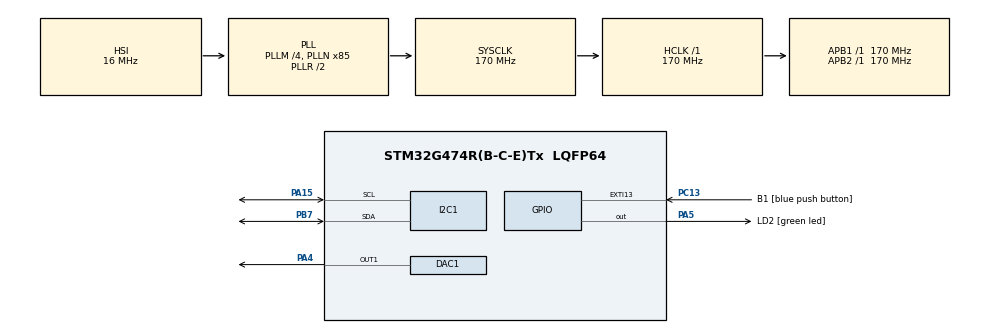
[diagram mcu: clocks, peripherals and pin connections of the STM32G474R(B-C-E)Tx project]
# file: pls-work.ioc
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DAC1.DAC_Trigger2_OUT1-DAC_OUT1=DAC_TRIGGER_T6_TRGO
DAC1.DAC_Trigger_OUT1-DAC_OUT1=DAC_TRIGGER_T2_TRGO
DAC1.PolaritySawtooth-DAC_OUT1=DAC_SAWTOOTH_POLARITY_INCREMENT
DAC1.WaveGeneration_OUT1-DAC_OUT1=SawtoothWaveGenerate
Dma.DAC1_CH1.0.Direction=DMA_MEMORY_TO_PERIPH
Dma.DAC1_CH1.0.EventEnable=DISABLE
Dma.DAC1_CH1.0.Instance=DMA1_Channel1
Dma.DAC1_CH1.0.MemDataAlignment=DMA_MDATAALIGN_HALFWORD
Dma.DAC1_CH1.0.MemInc=DMA_MINC_ENABLE
Dma.DAC1_CH1.0.Mode=DMA_CIRCULAR
Dma.DAC1_CH1.0.PeriphDataAlignment=DMA_PDATAALIGN_WORD
Dma.DAC1_CH1.0.PeriphInc=DMA_PINC_DISABLE
Dma.DAC1_CH1.0.Polarity=HAL_DMAMUX_REQ_GEN_RISING
Dma.DAC1_CH1.0.Priority=DMA_PRIORITY_LOW
Dma.DAC1_CH1.0.RequestNumber=1
Dma.DAC1_CH1.0.SignalID=NONE
Dma.DAC1_CH1.0.SyncEnable=DISABLE
Dma.DAC1_CH1.0.SyncPolarity=HAL_DMAMUX_SYNC_NO_EVENT
Dma.DAC1_CH1.0.SyncRequestNumber=1
Dma.DAC1_CH1.0.SyncSignalID=NONE
Dma.Request0=DAC1_CH1
I2C1.Timing=0x30A0A7FB
Mcu.Family=STM32G4
Mcu.Name=STM32G474R(B-C-E)Tx
Mcu.Package=LQFP64
NVIC.DMA1_Channel1_IRQn=true\:0\:0\:false\:false\:true\:false\:true
NVIC.EXTI15_10_IRQn=true\:0\:0\:false\:false\:true\:true\:true
NVIC.PriorityGroup=NVIC_PRIORITYGROUP_4
PA13.GPIO_Label=T_SWDIO
PA13.Signal=SYS_JTMS-SWDIO
PA14.GPIO_Label=T_SWCLK
PA14.Signal=SYS_JTCK-SWCLK
PA15.Mode=I2C
PA15.Signal=I2C1_SCL
PA2.GPIO_Label=LPUART1_TX [STLINKV3E_VCP_RX]
PA2.Signal=LPUART1_TX
PA3.GPIO_Label=LPUART1_RX [STLINKV3E_VCP_TX]
PA3.Signal=LPUART1_RX
PA4.Signal=COMP_DAC11_group
PA5.GPIO_Label=LD2 [green led]
PA5.Signal=GPIO_Output
PB3.GPIO_Label=T_SWO
PB3.Signal=SYS_JTDO-SWO
PB7.Mode=I2C
PB7.Signal=I2C1_SDA
PC13.GPIO_Label=B1 [blue push button]
PC13.Signal=GPXTI13
PC14-OSC32_IN.Signal=RCC_OSC32_IN
PC15-OSC32_OUT.Signal=RCC_OSC32_OUT
PF0-OSC_IN.Signal=RCC_OSC_IN
PF1-OSC_OUT.Signal=RCC_OSC_OUT
ProjectManager.HeapSize=0x200
ProjectManager.StackSize=0x400
ProjectManager.TargetToolchain=STM32CubeIDE
RCC.ADC12Freq_Value=170000000
RCC.ADC345Freq_Value=170000000
RCC.AHBFreq_Value=170000000
RCC.APB1Freq_Value=170000000
RCC.APB1TimFreq_Value=170000000
RCC.APB2Freq_Value=170000000
RCC.APB2TimFreq_Value=170000000
RCC.CortexFreq_Value=170000000
RCC.EXTERNAL_CLOCK_VALUE=12288000
RCC.HCLKFreq_Value=170000000
RCC.HSE_VALUE=24000000
RCC.HSI48_VALUE=48000000
RCC.HSI_VALUE=16000000
RCC.LSE_VALUE=32768
RCC.PLLM=RCC_PLLM_DIV4
RCC.PLLN=85
RCC.RTCClockSelection=RCC_RTCCLKSOURCE_LSE
RCC.SYSCLKFreq_VALUE=170000000
RCC.SYSCLKSource=RCC_SYSCLKSOURCE_PLLCLK
RCC.USBFreq_Value=170000000
RCC.VCOOutputFreq_Value=340000000
SH.COMP_DAC11_group.0=DAC1_OUT1,DAC_OUT1
TIM2.PeriodNoDither=999
TIM2.Prescaler=1049
TIM6.PeriodNoDither=2499
TIM6.Prescaler=10
VP_SYS_VS_DBSignals.Mode=DisableDeadBatterySignals
VP_TIM2_VS_ClockSourceINT.Mode=Internal
VP_TIM6_VS_ClockSourceINT.Mode=Enable_Timer
board=NUCLEO-G474RE

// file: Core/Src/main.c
/* USER CODE BEGIN Header */
/**
  ******************************************************************************
  * @file    DAC/DAC_SignalsGeneration/Src/main.c
  * @author  MCD Application Team
  * @brief   This example provides a short description of how to use the DAC
  *          peripheral to generate several signals.
  ******************************************************************************
  * @attention
  *
  * <h2><center>&copy; Copyright (c) 2019 STMicroelectronics.
  * All rights reserved.</center></h2>
  *
  * This software component is licensed by ST under BSD 3-Clause license,
  * the "License"; You may not use this file except in compliance with the
  * License. You may obtain a copy of the License at:
  *                        opensource.org/licenses/BSD-3-Clause
  *
  ******************************************************************************
  */
/* USER CODE END Header */
#include "main.h"

/* USER CODE BEGIN PTD */
typedef enum
{
  DAC_WAVE_SAWTOOTH,
  DAC_WAVE_SINE
} t_wavetype;
/* USER CODE END PTD */

/* USER CODE BEGIN PD */
#define SAWTOOTH_NB_STEPS  60
/* USER CODE END PD */

DAC_HandleTypeDef hdac1;
DMA_HandleTypeDef hdma_dac1_ch1;

I2C_HandleTypeDef hi2c1;

TIM_HandleTypeDef htim2;
TIM_HandleTypeDef htim6;

/* USER CODE BEGIN PV */
__IO uint8_t ubKeyPressed = RESET;
__IO t_wavetype ubSelectedWavesForm = DAC_WAVE_SAWTOOTH;

/* Sine wave values for a complete symbol */
uint16_t sinewave[500] = {1000,1013,1025,1038,1050,1063,1075,1088,1100,1113,1125,1138,1150,1163,1175,1187,1200,1212,1224,1236,1249,1261,1273,1285,1297,1309,1321,1333,1345,1356,1368,1380,1391,1403,1414,1426,1437,1448,1460,1471,1482,1493,1504,1514,1525,1536,1546,1557,1567,1578,1588,1598,1608,1618,1628,1637,1647,1657,1666,1675,1685,1694,1703,1712,1720,1729,1738,1746,1754,1762,1771,1778,1786,1794,1802,1809,1816,1824,1831,1838,1844,1851,1858,1864,1870,1876,1882,1888,1894,1899,1905,1910,1915,1920,1925,1930,1934,1939,1943,1947,1951,1955,1959,1962,1965,1969,1972,1975,1977,1980,1982,1985,1987,1989,1990,1992,1994,1995,1996,1997,1998,1999,1999,2000,2000,2000,2000,2000,1999,1999,1998,1997,1996,1995,1994,1992,1990,1989,1987,1985,1982,1980,1977,1975,1972,1969,1965,1962,1959,1955,1951,1947,1943,1939,1934,1930,1925,1920,1915,1910,1905,1899,1894,1888,1882,1876,1870,1864,1858,1851,1844,1838,1831,1824,1816,1809,1802,1794,1786,1778,1771,1762,1754,1746,1738,1729,1720,1712,1703,1694,1685,1675,1666,1657,1647,1637,1628,1618,1608,1598,
		1588,1578,1567,1557,1546,1536,1525,1514,1504,1493,1482,1471,1460,1448,1437,1426,1414,1403,1391,1380,1368,1356,1345,1333,1321,1309,1297,1285,1273,1261,1249,1236,1224,1212,1200,1187,1175,1163,1150,1138,1125,1113,1100,1088,1075,1063,1050,1038,1025,1013,1000,987,975,962,950,937,925,912,900,887,875,862,850,837,825,813,800,788,776,764,751,739,727,715,703,691,679,667,655,644,632,620,609,597,586,574,563,552,540,529,518,507,496,486,475,464,454,443,433,422,412,402,392,382,372,363,353,343,334,325,315,306,297,288,280,271,262,254,246,238,229,222,214,206,198,191,184,176,169,162,156,149,142,136,130,124,118,112,106,101,95,90,85,80,75,70,66,61,57,53,49,45,41,38,35,31,28,25,23,20,18,15,13,11,10,8,6,5,4,3,2,1,1,0,0,0,0,0,1,1,2,3,4,5,6,8,10,11,13,15,18,20,23,25,28,31,35,38,41,45,
		49,53,57,61,66,70,75,80,85,90,95,101,106,112,118,124,130,136,142,149,156,162,169,176,184,191,198,206,214,222,229,238,246,254,262,271,280,288,297,306,315,325,334,343,353,363,372,382,392,402,412,422,433,443,454,464,475,486,496,507,518,529,540,552,563,574,586,597,609,620,632,644,655,667,679,691,703,715,727,739,751,764,776,788,800,813,825,837,850,862,875,887,900,912,925,937,950,962,975,987,1000,};

uint16_t sinewave2[500] = {1000,1025,1050,1075,1100,1125,1150,1175,1200,1224,1249,1273,1297,1321,1345,1368,1391,1414,1437,1460,1482,1504,1525,1546,1567,1588,1608,1628,1647,1666,1685,1703,1720,1738,1754,1771,1786,1802,1816,1831,1844,1858,1870,1882,1894,1905,1915,1925,1934,1943,1951,1959,1965,1972,1977,1982,1987,1990,1994,1996,1998,1999,2000,2000,1999,1998,1996,1994,1990,1987,1982,1977,1972,1965,1959,1951,1943,1934,1925,1915,1905,1894,1882,1870,1858,1844,1831,1816,1802,1786,1771,1754,1738,1720,1703,1685,1666,1647,1628,1608,1588,1567,1546,1525,1504,1482,1460,1437,1414,1391,1368,1345,1321,1297,1273,1249,1224,1200,1175,1150,1125,1100,1075,1050,1025,1000,975,950,925,900,875,850,825,800,776,751,727,703,679,655,632,609,586,563,540,518,496,475,454,433,412,392,372,353,334,315,297,280,262,246,229,214,198,184,169,156,142,130,118,106,95,85,75,66,57,49,41,35,28,23,18,13,10,6,4,2,1,0,0,1,2,4,6,10,13,18,23,28,35,41,
		49,57,66,75,85,95,106,118,130,142,156,169,184,198,214,229,246,262,280,297,315,334,353,372,392,412,433,454,475,496,518,540,563,586,609,632,655,679,703,727,751,776,800,825,850,875,900,925,950,975,1000,1000,1025,1050,1075,1100,1125,1150,1175,1200,1224,1249,1273,1297,1321,1345,1368,1391,1414,1437,1460,1482,1504,1525,1546,1567,1588,1608,1628,1647,1666,1685,1703,1720,1738,1754,1771,1786,1802,1816,1831,1844,1858,1870,1882,1894,1905,1915,1925,1934,1943,1951,1959,1965,1972,1977,1982,1987,1990,1994,1996,1998,1999,2000,2000,1999,1998,1996,1994,1990,1987,1982,1977,1972,1965,1959,1951,1943,1934,1925,1915,1905,1894,1882,1870,1858,1844,1831,1816,1802,1786,1771,1754,1738,1720,1703,1685,1666,1647,1628,1608,1588,1567,1546,1525,1504,1482,1460,1437,1414,1391,1368,1345,1321,1297,1273,1249,1224,1200,1175,1150,1125,1100,1075,1050,1025,1000,975,950,925,900,875,850,825,800,776,751,727,703,679,655,632,609,586,563,540,518,496,475,454,433,412,392,372,353,334,315,297,280,262,246,229,214,198,184,169,156,142,130,118,106,95,85,75,66,57,49,41,35,28,23,18,13,10,6,4,2,1,0,0,1,2,4,6,10,13,18,23,28,35,41,
		49,57,66,75,85,95,106,118,130,142,156,169,184,198,214,229,246,262,280,297,315,334,353,372,392,412,433,454,475,496,518,540,563,586,609,632,655,679,703,727,751,776,800,825,850,875,900,925,950,975,1000,};

uint16_t sinewaveout [500] = {0,0,0,0,0,0,0,0,0,0,
		0,0,0,0,0,0,0,0,0,0,
		0,0,0,0,0,0,0,0,0,0,
		0,0,0,0,0,0,0,0,0,0,
		0,0,0,0,0,0,0,0,0,0,
		0,0,0,0,0,0,0,0,0,0,
		0,0,0,0,0,0,0,0,0,0,
		0,0,0,0,0,0,0,0,0,0,
		0,0,0,0,0,0,0,0,0,0,
		0,0,0,0,0,0,0,0,0,0,
		0,0,0,0,0,0,0,0,0,0,
		0,0,0,0,0,0,0,0,0,0,
		0,0,0,0,0,0,0,0,0,0,
		0,0,0,0,0,0,0,0,0,0,
		0,0,0,0,0,0,0,0,0,0,
		0,0,0,0,0,0,0,0,0,0,
		0,0,0,0,0,0,0,0,0,0,
		0,0,0,0,0,0,0,0,0,0,
		0,0,0,0,0,0,0,0,0,0,
		0,0,0,0,0,0,0,0,0,0,
		0,0,0,0,0,0,0,0,0,0,
		0,0,0,0,0,0,0,0,0,0,
		0,0,0,0,0,0,0,0,0,0,
		0,0,0,0,0,0,0,0,0,0,
		0,0,0,0,0,0,0,0,0,0,
		0,0,0,0,0,0,0,0,0,0,
		0,0,0,0,0,0,0,0,0,0,
		0,0,0,0,0,0,0,0,0,0,
		0,0,0,0,0,0,0,0,0,0,
		0,0,0,0,0,0,0,0,0,0,
		0,0,0,0,0,0,0,0,0,0,
		0,0,0,0,0,0,0,0,0,0,
		0,0,0,0,0,0,0,0,0,0,
		0,0,0,0,0,0,0,0,0,0,
		0,0,0,0,0,0,0,0,0,0,
		0,0,0,0,0,0,0,0,0,0,
		0,0,0,0,0,0,0,0,0,0,
		0,0,0,0,0,0,0,0,0,0,
		0,0,0,0,0,0,0,0,0,0,
		0,0,0,0,0,0,0,0,0,0,
		0,0,0,0,0,0,0,0,0,0,
		0,0,0,0,0,0,0,0,0,0,
		0,0,0,0,0,0,0,0,0,0,
		0,0,0,0,0,0,0,0,0,0,
		0,0,0,0,0,0,0,0,0,0,
		0,0,0,0,0,0,0,0,0,0,
		0,0,0,0,0,0,0,0,0,0,0,0,0,0,0,0,0,0,0,0,0,0,0,0,0,0,0,0,0,0,0,0,0,0,0,0,0,0,0,0};

//uint16_t sinewave[2] = {20, 4000};

int i = 0;
int counter = 0;

static DAC_ChannelConfTypeDef sDacConfig = {0};
/* USER CODE END PV */

void SystemClock_Config(void);
static void MX_GPIO_Init(void);
static void MX_DMA_Init(void);
static void MX_DAC1_Init(void);
static void MX_TIM6_Init(void);
static void MX_TIM2_Init(void);
static void MX_I2C1_Init(void);
/* USER CODE BEGIN PFP */
static void DAC_ChangeWave();
/* USER CODE END PFP */

int main(void)
{

  /* MCU Configuration--------------------------------------------------------*/

  /* Reset of all peripherals, Initializes the Flash interface and the Systick. */
  HAL_Init();

  /* Configure the system clock */
  SystemClock_Config();

  /* Initialize all configured peripherals */
  MX_GPIO_Init();
  MX_DMA_Init();
  MX_DAC1_Init();
  MX_TIM6_Init();
  MX_TIM2_Init();
  MX_I2C1_Init();
  /* USER CODE BEGIN 2 */
  /* Configure LED2 */
  //BSP_LED_Init(LED2);
  /* Configure User push-button in Interrupt mode */
  //BSP_PB_Init(BUTTON_USER, BUTTON_MODE_EXTI);

  /*## Start Time Base triggers ############################################*/
  /* Enable TIM peripheral counter */
  if (HAL_TIM_Base_Start(&htim2) != HAL_OK)
  {
    /* Counter enable error */
    Error_Handler();
  }
  if (HAL_TIM_Base_Start(&htim6) != HAL_OK)
  {
    /* Counter enable error */
    Error_Handler();
  }

  /*## Start DAC conversions ###############################################*/
  /* Start DAC wave generation */
  if (HAL_DAC_Start(&hdac1, DAC_CHANNEL_1) != HAL_OK)
  {
    /* DAC conversion start error */
    Error_Handler();
  }
  /* USER CODE END 2 */

  /* Infinite loop */
  while (1)
  {

  }
}

void SystemClock_Config(void)
{
  RCC_OscInitTypeDef RCC_OscInitStruct = {0};
  RCC_ClkInitTypeDef RCC_ClkInitStruct = {0};
  RCC_PeriphCLKInitTypeDef PeriphClkInit = {0};

  /** Configure the main internal regulator output voltage
  */
  HAL_PWREx_ControlVoltageScaling(PWR_REGULATOR_VOLTAGE_SCALE1_BOOST);
  /** Initializes the RCC Oscillators according to the specified parameters
  * in the RCC_OscInitTypeDef structure.
  */
  RCC_OscInitStruct.OscillatorType = RCC_OSCILLATORTYPE_HSI;
  RCC_OscInitStruct.HSIState = RCC_HSI_ON;
  RCC_OscInitStruct.HSICalibrationValue = RCC_HSICALIBRATION_DEFAULT;
  RCC_OscInitStruct.PLL.PLLState = RCC_PLL_ON;
  RCC_OscInitStruct.PLL.PLLSource = RCC_PLLSOURCE_HSI;
  RCC_OscInitStruct.PLL.PLLM = RCC_PLLM_DIV4;
  RCC_OscInitStruct.PLL.PLLN = 85;
  RCC_OscInitStruct.PLL.PLLP = RCC_PLLP_DIV2;
  RCC_OscInitStruct.PLL.PLLQ = RCC_PLLQ_DIV2;
  RCC_OscInitStruct.PLL.PLLR = RCC_PLLR_DIV2;
  if (HAL_RCC_OscConfig(&RCC_OscInitStruct) != HAL_OK)
  {
    Error_Handler();
  }
  /** Initializes the CPU, AHB and APB buses clocks
  */
  RCC_ClkInitStruct.ClockType = RCC_CLOCKTYPE_HCLK|RCC_CLOCKTYPE_SYSCLK
                              |RCC_CLOCKTYPE_PCLK1|RCC_CLOCKTYPE_PCLK2;
  RCC_ClkInitStruct.SYSCLKSource = RCC_SYSCLKSOURCE_PLLCLK;
  RCC_ClkInitStruct.AHBCLKDivider = RCC_SYSCLK_DIV1;
  RCC_ClkInitStruct.APB1CLKDivider = RCC_HCLK_DIV1;
  RCC_ClkInitStruct.APB2CLKDivider = RCC_HCLK_DIV1;

  if (HAL_RCC_ClockConfig(&RCC_ClkInitStruct, FLASH_LATENCY_4) != HAL_OK)
  {
    Error_Handler();
  }
  /** Initializes the peripherals clocks
  */
  PeriphClkInit.PeriphClockSelection = RCC_PERIPHCLK_I2C1;
  PeriphClkInit.I2c1ClockSelection = RCC_I2C1CLKSOURCE_PCLK1;
  if (HAL_RCCEx_PeriphCLKConfig(&PeriphClkInit) != HAL_OK)
  {
    Error_Handler();
  }
}

static void MX_DAC1_Init(void)
{

  DAC_ChannelConfTypeDef sConfig = {0};

  /** DAC Initialization
  */
  hdac1.Instance = DAC1;
  if (HAL_DAC_Init(&hdac1) != HAL_OK)
  {
    Error_Handler();
  }
  /** DAC channel OUT1 config
  */
  sConfig.DAC_HighFrequency = DAC_HIGH_FREQUENCY_INTERFACE_MODE_AUTOMATIC;
  sConfig.DAC_DMADoubleDataMode = DISABLE;
  sConfig.DAC_SignedFormat = DISABLE;
  sConfig.DAC_SampleAndHold = DAC_SAMPLEANDHOLD_DISABLE;
  sConfig.DAC_Trigger = DAC_TRIGGER_T2_TRGO;
  sConfig.DAC_Trigger2 = DAC_TRIGGER_T6_TRGO;
  sConfig.DAC_OutputBuffer = DAC_OUTPUTBUFFER_ENABLE;
  sConfig.DAC_ConnectOnChipPeripheral = DAC_CHIPCONNECT_EXTERNAL;
  sConfig.DAC_UserTrimming = DAC_TRIMMING_FACTORY;
  if (HAL_DAC_ConfigChannel(&hdac1, &sConfig, DAC_CHANNEL_1) != HAL_OK)
  {
    Error_Handler();
  }
  /** Configure Sawtooth wave generation on DAC OUT1
  */
  if (HAL_DACEx_SawtoothWaveGenerate(&hdac1, DAC_CHANNEL_1, DAC_SAWTOOTH_POLARITY_INCREMENT, 0, 0) != HAL_OK)
  {
    Error_Handler();
  }
  /* USER CODE BEGIN DAC1_Init 2 */
  if (HAL_DACEx_SelfCalibrate(&hdac1, &sConfig, DAC_CHANNEL_1) != HAL_OK)
  {
    Error_Handler();
  }
  /* Save DAC configuration to reconfigure it upon needs later */
  sDacConfig = sConfig;
  /* USER CODE END DAC1_Init 2 */

}

static void MX_I2C1_Init(void)
{

  hi2c1.Instance = I2C1;
  hi2c1.Init.Timing = 0x30A0A7FB;
  hi2c1.Init.OwnAddress1 = 0;
  hi2c1.Init.AddressingMode = I2C_ADDRESSINGMODE_7BIT;
  hi2c1.Init.DualAddressMode = I2C_DUALADDRESS_DISABLE;
  hi2c1.Init.OwnAddress2 = 0;
  hi2c1.Init.OwnAddress2Masks = I2C_OA2_NOMASK;
  hi2c1.Init.GeneralCallMode = I2C_GENERALCALL_DISABLE;
  hi2c1.Init.NoStretchMode = I2C_NOSTRETCH_DISABLE;
  if (HAL_I2C_Init(&hi2c1) != HAL_OK)
  {
    Error_Handler();
  }
  /** Configure Analogue filter
  */
  if (HAL_I2CEx_ConfigAnalogFilter(&hi2c1, I2C_ANALOGFILTER_ENABLE) != HAL_OK)
  {
    Error_Handler();
  }
  /** Configure Digital filter
  */
  if (HAL_I2CEx_ConfigDigitalFilter(&hi2c1, 0) != HAL_OK)
  {
    Error_Handler();
  }

}

static void MX_TIM2_Init(void)
{

  TIM_ClockConfigTypeDef sClockSourceConfig = {0};
  TIM_MasterConfigTypeDef sMasterConfig = {0};

  htim2.Instance = TIM2;
  htim2.Init.Prescaler = 1049;
  htim2.Init.CounterMode = TIM_COUNTERMODE_UP;
  htim2.Init.Period = 999;
  htim2.Init.ClockDivision = TIM_CLOCKDIVISION_DIV1;
  htim2.Init.AutoReloadPreload = TIM_AUTORELOAD_PRELOAD_DISABLE;
  if (HAL_TIM_Base_Init(&htim2) != HAL_OK)
  {
    Error_Handler();
  }
  sClockSourceConfig.ClockSource = TIM_CLOCKSOURCE_INTERNAL;
  if (HAL_TIM_ConfigClockSource(&htim2, &sClockSourceConfig) != HAL_OK)
  {
    Error_Handler();
  }
  sMasterConfig.MasterOutputTrigger = TIM_TRGO_RESET;
  sMasterConfig.MasterSlaveMode = TIM_MASTERSLAVEMODE_DISABLE;
  if (HAL_TIMEx_MasterConfigSynchronization(&htim2, &sMasterConfig) != HAL_OK)
  {
    Error_Handler();
  }

}

static void MX_TIM6_Init(void)
{

  TIM_MasterConfigTypeDef sMasterConfig = {0};

  htim6.Instance = TIM6;
  htim6.Init.Prescaler = 10;
  htim6.Init.CounterMode = TIM_COUNTERMODE_UP;
  htim6.Init.Period = 2499;
  htim6.Init.AutoReloadPreload = TIM_AUTORELOAD_PRELOAD_DISABLE;
  if (HAL_TIM_Base_Init(&htim6) != HAL_OK)
  {
    Error_Handler();
  }
  sMasterConfig.MasterOutputTrigger = TIM_TRGO_RESET;
  sMasterConfig.MasterSlaveMode = TIM_MASTERSLAVEMODE_DISABLE;
  if (HAL_TIMEx_MasterConfigSynchronization(&htim6, &sMasterConfig) != HAL_OK)
  {
    Error_Handler();
  }

}

static void MX_DMA_Init(void)
{

  /* DMA controller clock enable */
  __HAL_RCC_DMAMUX1_CLK_ENABLE();
  __HAL_RCC_DMA1_CLK_ENABLE();

  /* DMA interrupt init */
  /* DMA1_Channel1_IRQn interrupt configuration */
  HAL_NVIC_SetPriority(DMA1_Channel1_IRQn, 0, 0);
  HAL_NVIC_EnableIRQ(DMA1_Channel1_IRQn);

}

static void MX_GPIO_Init(void)
{
  GPIO_InitTypeDef GPIO_InitStruct = {0};

  /* GPIO Ports Clock Enable */
  __HAL_RCC_GPIOC_CLK_ENABLE();
  __HAL_RCC_GPIOF_CLK_ENABLE();
  __HAL_RCC_GPIOA_CLK_ENABLE();
  __HAL_RCC_GPIOB_CLK_ENABLE();

  /*Configure GPIO pin Output Level */
  HAL_GPIO_WritePin(LD2_GPIO_Port, LD2_Pin, GPIO_PIN_RESET);

  /*Configure GPIO pin : B1_Pin */
  GPIO_InitStruct.Pin = B1_Pin;
  GPIO_InitStruct.Mode = GPIO_MODE_IT_RISING;
  GPIO_InitStruct.Pull = GPIO_NOPULL;
  HAL_GPIO_Init(B1_GPIO_Port, &GPIO_InitStruct);

  /*Configure GPIO pins : LPUART1_TX_Pin LPUART1_RX_Pin */
  GPIO_InitStruct.Pin = LPUART1_TX_Pin|LPUART1_RX_Pin;
  GPIO_InitStruct.Mode = GPIO_MODE_AF_PP;
  GPIO_InitStruct.Pull = GPIO_NOPULL;
  GPIO_InitStruct.Speed = GPIO_SPEED_FREQ_LOW;
  GPIO_InitStruct.Alternate = GPIO_AF12_LPUART1;
  HAL_GPIO_Init(GPIOA, &GPIO_InitStruct);

  /*Configure GPIO pin : LD2_Pin */
  GPIO_InitStruct.Pin = LD2_Pin;
  GPIO_InitStruct.Mode = GPIO_MODE_OUTPUT_PP;
  GPIO_InitStruct.Pull = GPIO_NOPULL;
  GPIO_InitStruct.Speed = GPIO_SPEED_FREQ_LOW;
  HAL_GPIO_Init(LD2_GPIO_Port, &GPIO_InitStruct);

  /* EXTI interrupt init*/
  HAL_NVIC_SetPriority(EXTI15_10_IRQn, 0, 0);
  HAL_NVIC_EnableIRQ(EXTI15_10_IRQn);

}

/* USER CODE BEGIN 4 */

static void DAC_ChangeWave()
{
  uint32_t tmp;

  /* Suspend Time Base triggers */
  if (HAL_TIM_Base_Stop(&htim2) != HAL_OK)
  {
    /* Counter enable error */
    Error_Handler();
  }
  if (HAL_TIM_Base_Stop(&htim6) != HAL_OK)
  {
    /* Counter enable error */
    Error_Handler();
  }

  if (HAL_DAC_Stop(&hdac1, DAC_CHANNEL_1) != HAL_OK)
  {Error_Handler();}

  /* Re-configure DAC */
  tmp = sDacConfig.DAC_Trigger;
  sDacConfig.DAC_Trigger = sDacConfig.DAC_Trigger2;
  sDacConfig.DAC_Trigger2 = tmp;
  if (HAL_DAC_ConfigChannel(&hdac1, &sDacConfig, DAC_CHANNEL_1) != HAL_OK)
  {
    Error_Handler();
  }

  if (HAL_DAC_Start_DMA(&hdac1, DAC_CHANNEL_1,
                            (uint32_t *)sinewaveout,
                            500,
                            DAC_ALIGN_12B_R
                           ) != HAL_OK)
      {Error_Handler();}

  /* Resume Time Base triggers */
  if (HAL_TIM_Base_Start(&htim2) != HAL_OK)
  {
    /* Counter enable error */
    Error_Handler();
  }
  if (HAL_TIM_Base_Start(&htim6) != HAL_OK)
  {
    /* Counter enable error */
    Error_Handler();
  }
}

/**
  * @brief EXTI line detection callbacks
  * @param GPIO_Pin: Specifies the pins connected EXTI line
  * @retval None
  */
void HAL_GPIO_EXTI_Callback(uint16_t GPIO_Pin)
{
  /* Change the wave */
  ubKeyPressed = SET;
}
/* USER CODE END 4 */

void Error_Handler(void)
{
  /* USER CODE BEGIN Error_Handler_Debug */
  /* Error if LED2 is slowly blinking (1 sec. period) */
  while(1)
  {
//    BSP_LED_Toggle(LED2);
    HAL_Delay(1000);
  }
  /* USER CODE END Error_Handler_Debug */
}

/************************ (C) COPYRIGHT STMicroelectronics *****END OF FILE****/
